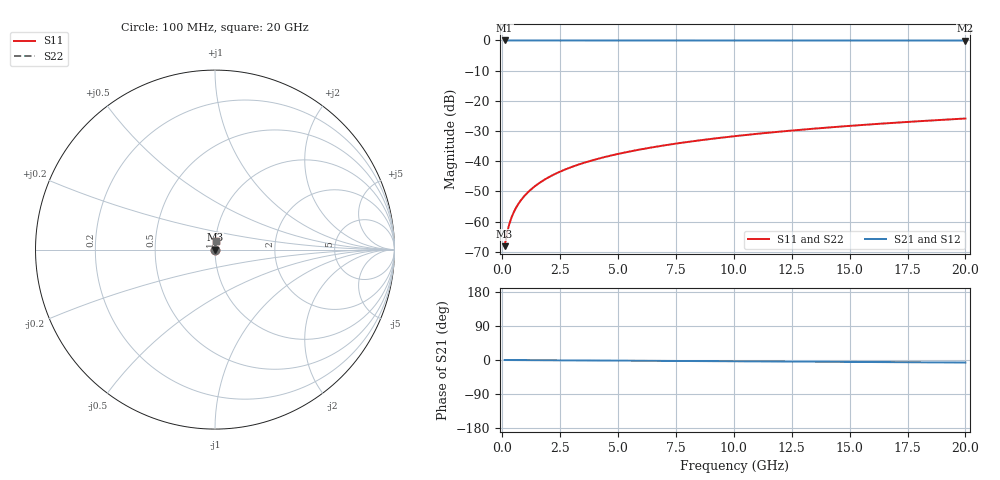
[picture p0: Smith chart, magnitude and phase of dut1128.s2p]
! Touchstone file exported from HFSS 2026.1.0
!  File:  C:/ffzhzh/LocalFiles/Ansys_Project_Files/temp_train_TSV_1128_1783191097_22436.aedt
!  Generated:  02:53:12 AM Jul  5, 2026
!  Design:  TSV
!  Project:  temp_train_TSV_1128_1783191097_22436
! Variables:
!  h_bsmrdl = 2um
!  h_ox = 20um
!  h_rdl = 5um
!  h_sub = 55.96um
!  h_tmrdl = 5um
!  h_tsv = 55.96um
!  h_via = 3um
!  l_bsmrdl = 300um
!  l_sub = 410.6um
!  l_tmrdl = 200um
!  m_sub = 200um
!  pitch = 40.58um
!  r_tsv = 5.3um
!  s_tmrdl = 10um
!  w_bsmrdl = 18um
!  w_sub = 500um
!  w_tmrdl = 12um
!  x_tsv_center1 = 206um
!  x_tsv_center2 = 524um
!  x_tsv_center3 = 736um
!  x_tsv_center4 = 1054um
!  x_tsv_center5 = 1266um
!  x_tsv_center6 = 1584um
# GHz S MA R 50.000000
! Terminal data exported
! Port[1] = TSV1_1_T1
! Port[2] = TSV1_1_T2
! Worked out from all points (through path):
!   200 points, 100 MHz to 20 GHz, reference 50 ohm
!   highest |S21| = 0.00 dB at 100 MHz (marker M1); lowest = 0.0 dB at 20 GHz (marker M2)
!   lowest |S11| = -68.2 dB at 100 MHz (marker M3), VSWR 1.00, Z = 50 + j0.0289 ohm
!   |S11| at or under -10 dB: start of sweep to end of sweep
!   |S22| runs from -68.2 to -25.9 dB; largest |S21 - S12| = 2.3e-15
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0.1  0.0003912 47.7  0.9997 -0.0  0.9997 -0.0  0.0003912 47.7
! Gamma 0 0 0 0
! Port Impedance 50 0 50 0
0.2  0.0006372 64.6  0.9997 -0.1  0.9997 -0.1  0.0006372 64.6
0.3  0.0009043 71.4  0.9997 -0.1  0.9997 -0.1  0.0009043 71.4
0.4  0.001174 75.0  0.9997 -0.1  0.9997 -0.1  0.001174 75.0
0.5  0.001443 77.2  0.9997 -0.2  0.9997 -0.2  0.001443 77.2
0.7  0.001977 79.8  0.9997 -0.2  0.9997 -0.2  0.001977 79.8
0.8  0.002242 80.6  0.9996 -0.3  0.9996 -0.3  0.002242 80.6
1  0.002772 81.9  0.9996 -0.3  0.9996 -0.3  0.002772 81.9
1.2  0.003301 82.7  0.9996 -0.4  0.9996 -0.4  0.003301 82.7
1.4  0.003829 83.3  0.9996 -0.5  0.9996 -0.5  0.003829 83.3
1.7  0.004621 84.0  0.9995 -0.6  0.9995 -0.6  0.004621 84.0
2  0.005412 84.4  0.9995 -0.7  0.9995 -0.7  0.005412 84.4
2.7  0.00725 84.9  0.9994 -0.9  0.9994 -0.9  0.00725 84.9
3.5  0.009334 85.1  0.9993 -1.2  0.9993 -1.2  0.009334 85.1
4.2  0.01114 85.1  0.9993 -1.4  0.9993 -1.4  0.01114 85.1
5  0.0132 85.1  0.9992 -1.7  0.9992 -1.7  0.0132 85.1
6.8  0.01778 84.9  0.999 -2.3  0.999 -2.3  0.01778 84.9
8.3  0.02158 84.6  0.9988 -2.8  0.9988 -2.8  0.02158 84.6
10.1  0.02613 84.2  0.9986 -3.4  0.9986 -3.4  0.02613 84.2
13.4  0.03444 83.5  0.9982 -4.5  0.9982 -4.5  0.03444 83.5
16.7  0.04271 82.6  0.9977 -5.6  0.9977 -5.6  0.04271 82.6
20  0.05092 81.6  0.9972 -6.7  0.9972 -6.7  0.05092 81.6
